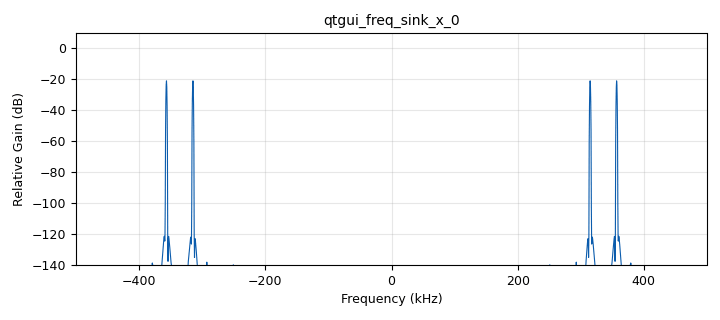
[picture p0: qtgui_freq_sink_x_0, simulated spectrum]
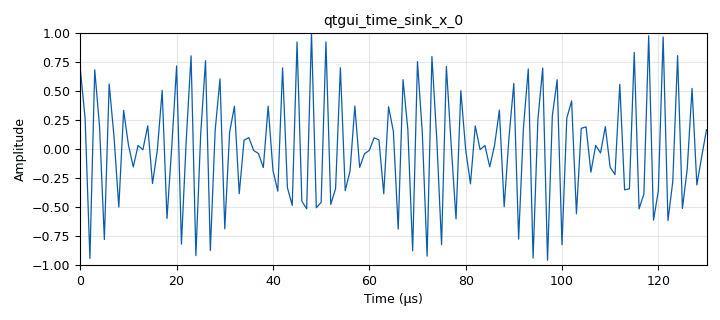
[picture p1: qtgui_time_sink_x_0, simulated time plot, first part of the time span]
options:
  parameters:
    author: KevinJimenz_J1BG4
    generate_options: qt_gui
    id: P_3
    output_language: python
    title: Punto 3
  states: {}

blocks:
- name: samp_rate
  id: variable
  parameters:
    value: '1000000'
  states: {}
- name: analog_sig_source_x_0
  id: analog_sig_source_x
  parameters:
    amp: '1'
    freq: 21e3
    offset: '0'
    phase: '0'
    samp_rate: samp_rate
    type: float
    waveform: analog.GR_COS_WAVE
  states: {}
- name: analog_sig_source_x_0_0
  id: analog_sig_source_x
  parameters:
    amp: '1'
    freq: 336e3
    offset: '0'
    phase: '0'
    samp_rate: samp_rate
    type: float
    waveform: analog.GR_COS_WAVE
  states: {}
- name: blocks_multiply_xx_0
  id: blocks_multiply_xx
  parameters:
    type: float
  states: {}
- name: blocks_throttle_0
  id: blocks_throttle
  parameters:
    samples_per_second: samp_rate
    type: float
  states: {}
- name: qtgui_freq_sink_x_0
  id: qtgui_freq_sink_x
  parameters:
    bw: samp_rate
    fc: '0'
    fftsize: '2048'
    type: float
    wintype: firdes.WIN_BLACKMAN_hARRIS
  states: {}
- name: qtgui_time_sink_x_0
  id: qtgui_time_sink_x
  parameters:
    size: '2048'
    srate: samp_rate
    type: float
  states: {}

connections:
- [analog_sig_source_x_0, '0', blocks_multiply_xx_0, '0']
- [analog_sig_source_x_0_0, '0', blocks_multiply_xx_0, '1']
- [blocks_multiply_xx_0, '0', blocks_throttle_0, '0']
- [blocks_throttle_0, '0', qtgui_freq_sink_x_0, '0']
- [blocks_throttle_0, '0', qtgui_time_sink_x_0, '0']

metadata:
  file_format: 1
